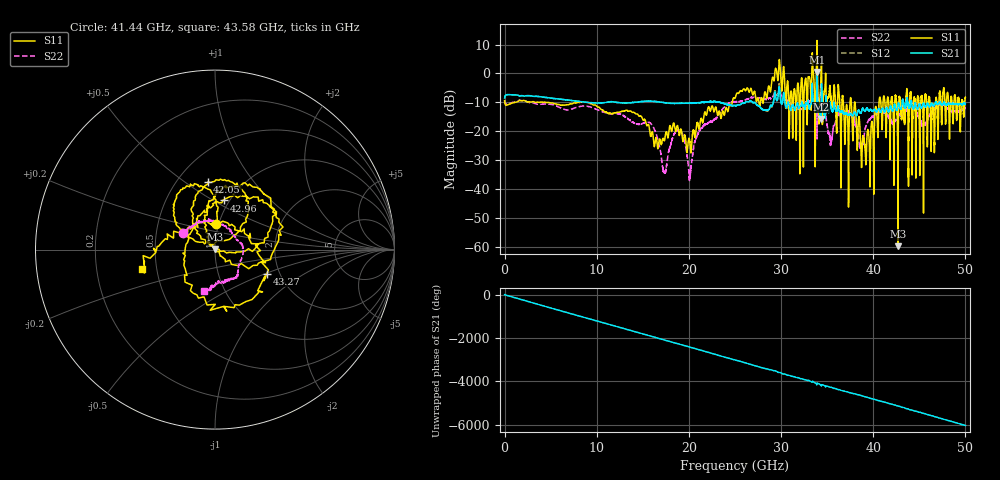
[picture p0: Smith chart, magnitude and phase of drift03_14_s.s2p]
!Created with skrf (http://scikit-rf.org).
# Hz S RI R 50.0
!freq ReS11 ImS11 ReS21 ImS21 ReS12 ImS12 ReS22 ImS22
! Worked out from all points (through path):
!   10001 points, 300 kHz to 50 GHz, reference 50 ohm
!   highest |S21| = 0.55 dB at 33.9 GHz (marker M1); lowest = -15.7 dB at 34.32 GHz (marker M2)
!   group delay of S21, straight-line fit = 335 ps
!   lowest |S11| = -59.8 dB at 42.67 GHz (marker M3), VSWR 1.00, Z = 50.1 + j0.0638 ohm
!   |S11| at or under -10 dB: 4.471 GHz to 7.928 GHz (3.456 GHz wide, 55.8 % of centre); 9.017 GHz to 24.7 GHz (15.68 GHz wide, 93 % of centre); 38.01 GHz to 40.63 GHz (2.615 GHz wide, 6.65 % of centre) (the widest 3 of 67)
!   |S22| runs from -37.1 to -5.9 dB; largest |S21 - S12| = 0.11
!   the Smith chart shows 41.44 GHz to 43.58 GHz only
!   S11 on the Smith chart (normalised r, x): 41.44 GHz: 0.97, +0.28; 42.05 GHz: 0.70, +0.61; 42.96 GHz: 0.94, +0.56; 43.27 GHz: 1.72, -0.51; 43.58 GHz: 0.41, -0.11
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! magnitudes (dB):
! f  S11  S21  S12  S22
! 300 kHz  -9.4  -8.5  -8.5  -9.3
! 8.335 GHz  -9.9  -9.8  -9.8  -11.3
! 16.67 GHz  -25.5  -9.8  -9.8  -23.5
! 17.36 GHz  -23.1  -10.1  -10.1  -34.3
! 19.04 GHz  -20.3  -10.4  -10.4  -19.9
! 20.11 GHz  -24.1  -10.3  -10.3  -36.3
! 21.19 GHz  -18.0  -10.1  -10.2  -19.4
! 25 GHz  -8.6  -11.1  -11.1  -9.8
! 29.66 GHz  -2.4  -8.3  -8.4  -7.2
! 31.08 GHz  -6.1  -12.7  -12.7  -10.5
! 33.34 GHz  0.3  -7.6  -7.7  -9.5
! 33.9 GHz  11.4  0.5  0.1  -22.7
! 34.32 GHz  -2.8  -15.7  -15.0  -11.3
! 38.96 GHz  -22.6  -12.5  -12.6  -23.1
! 41.44 GHz  -16.9  -11.8  -11.9  -14.0
! 41.67 GHz  -9.9  -13.3  -13.3  -14.8
! 42.05 GHz  -8.4  -12.7  -12.7  -17.0
! 42.67 GHz  -59.8  -11.4  -11.2  -15.9
! 42.96 GHz  -11.1  -12.3  -12.2  -14.6
! 43.27 GHz  -9.9  -10.1  -10.2  -13.6
! 43.58 GHz  -7.5  -10.4  -10.3  -12.5
! 50 GHz  -8.2  -10.4  -10.5  -12.1
